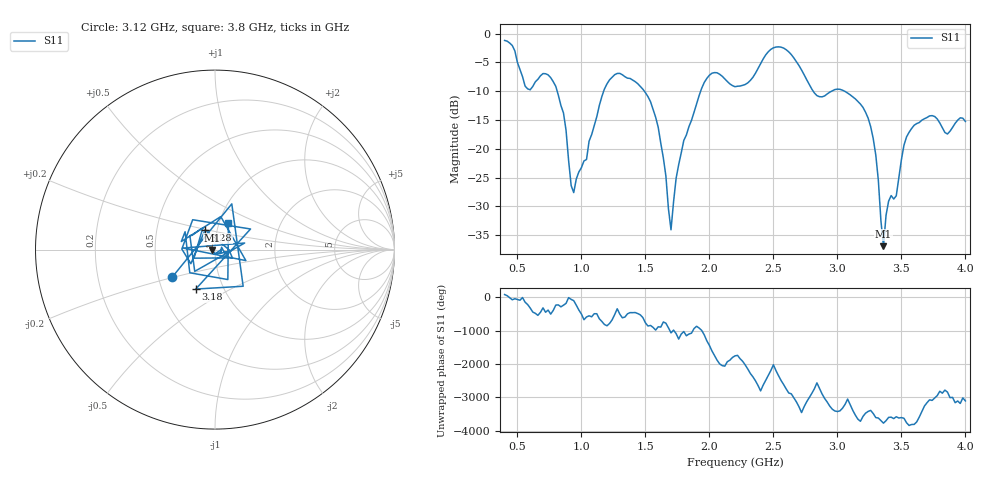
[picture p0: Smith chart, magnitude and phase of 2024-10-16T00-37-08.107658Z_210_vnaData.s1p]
! Created with skrf (http://scikit-rf.org).
# Hz S RI R 50.0
!freq ReS11 ImS11
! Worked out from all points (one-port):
!   181 points, 400 MHz to 4 GHz, reference 50 ohm
!   lowest |S11| = -36.9 dB at 3.36 GHz (marker M1), VSWR 1.03, Z = 48.6 - j0.203 ohm
!   |S11| at or under -10 dB: 810.9 MHz to 1.174 GHz (363.1 MHz wide, 36.6 % of centre); 1.492 GHz to 1.932 GHz (439.6 MHz wide, 25.7 % of centre); 3.056 GHz to end of sweep (the widest 3 of 4)
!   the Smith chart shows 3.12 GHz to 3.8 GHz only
!   S11 on the Smith chart (normalised r, x): 3.12 GHz: 0.59, -0.20; 3.18 GHz: 0.74, -0.35; 3.28 GHz: 0.88, +0.19; 3.8 GHz: 1.11, +0.34
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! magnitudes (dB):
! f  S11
! 400 MHz  -1.2
! 480 MHz  -3.0
! 560 MHz  -9.1
! 740 MHz  -7.2
! 860 MHz  -13.8
! 920 MHz  -26.4
! 940 MHz  -27.6
! 1.18 GHz  -9.6
! 1.3 GHz  -6.9
! 1.56 GHz  -13.1
! 1.64 GHz  -21.6
! 1.7 GHz  -34.1
! 1.76 GHz  -22.8
! 1.98 GHz  -7.8
! 2.2 GHz  -9.2
! 2.5 GHz  -2.5
! 2.66 GHz  -4.2
! 2.84 GHz  -10.8
! 3.1 GHz  -10.6
! 3.12 GHz  -11.0
! 3.18 GHz  -12.2
! 3.28 GHz  -18.2
! 3.36 GHz  -36.9
! 3.4 GHz  -29.1
! 3.46 GHz  -28.2
! 3.56 GHz  -17.1
! 3.8 GHz  -15.5
! 4 GHz  -15.3
